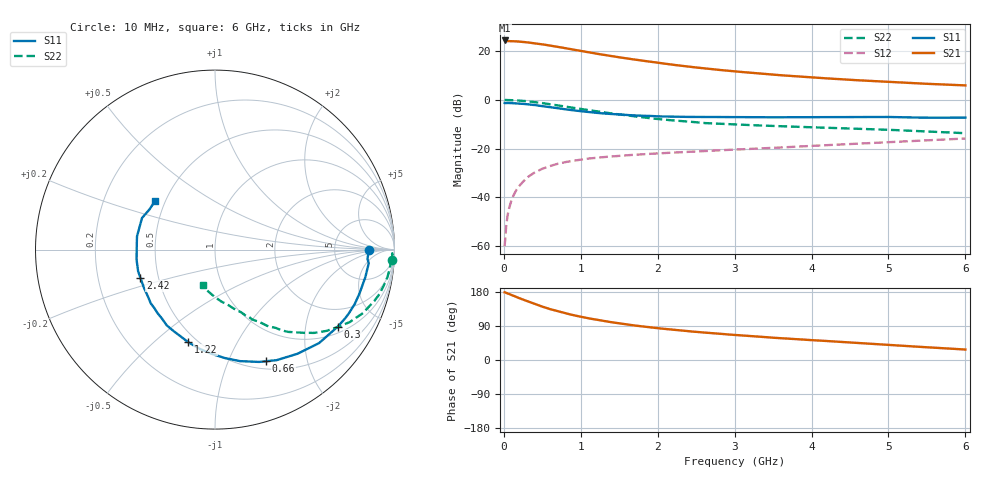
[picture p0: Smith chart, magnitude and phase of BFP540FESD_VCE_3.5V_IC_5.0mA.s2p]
! Infineon Technologies  Discrete & RF Semiconductors
! BFP540FESD
! VCE =  3.5 V,  IC =  5.0 mA
! Common Emitter S-Parameters:  Nov 2015
# GHz  S  MA  R  50
!  f  S11  S21  S12  S22
! GHz  MAG  ANG  MAG  ANG  MAG  ANG  MAG  ANG
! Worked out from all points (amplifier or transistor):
!   210 points, 10 MHz to 6 GHz, reference 50 ohm
!   highest |S21| = 24.3 dB at 10 MHz (marker M1)
!   |S21| within 3 dB of that: start of sweep to 770.1 MHz
!   unconditionally stable (mu >= 1): 2.771 GHz to end of sweep
!   at 185 MHz: K = 0.09, MSG = 29.9 dB, |S12| = -36.0 dB
!   at 1.52 GHz: K = 0.62, MSG = 20.1 dB, |S12| = -22.9 dB
!   at 6 GHz: K = 1.32, MAG = 7.5 dB, |S12| = -15.9 dB
!   S11 on the Smith chart (normalised r, x): 10 MHz: 13, -0; 300 MHz: 1.23, -3.02; 660 MHz: 0.59, -1.38; 1.22 GHz: 0.45, -0.65; 2.42 GHz: 0.40, -0.16; 6 GHz: 0.44, +0.29
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0.01  0.8569 -0.2  16.36 178.6  0.001 55.3  0.9879 -3.4
0.02  0.8512 -3.5  15.94 178.1  0.0015 80.5  0.988 -1.2
0.05  0.86 -5.1  15.91 175.8  0.0044 78.4  0.984 -3.1
0.095  0.8521 -9.9  15.82 172.0  0.0083 81.3  0.9799 -5.9
0.15  0.842 -16.7  15.77 167.7  0.0131 80.0  0.9725 -9.2
0.2  0.8353 -21.4  15.49 163.2  0.0171 79.3  0.9607 -12.2
0.3  0.8075 -32.1  15.02 155.4  0.0252 73.8  0.9325 -17.9
0.4  0.7795 -41.9  14.36 147.9  0.0322 68.6  0.8971 -23.2
0.5  0.7403 -51.6  13.68 140.8  0.0385 65.2  0.8532 -28.2
0.66  0.6839 -65.4  12.39 131.1  0.0467 58.7  0.7836 -34.6
0.8  0.6367 -77.4  11.38 123.3  0.0527 54.7  0.7231 -39.9
0.9  0.6075 -84.6  10.65 118.4  0.0561 51.9  0.683 -42.8
1.02  0.5773 -92.9  9.872 113.4  0.0599 50.0  0.6401 -46.1
1.22  0.5357 -106.4  8.696 105.7  0.0649 46.3  0.5743 -50.9
1.5  0.5003 -122.5  7.395 96.5  0.071 43.4  0.4992 -56.7
1.78  0.4706 -135.4  6.361 89.0  0.0757 41.5  0.4411 -61.9
2.02  0.4552 -145.6  5.662 83.4  0.0798 40.6  0.3997 -65.5
2.42  0.4442 -159.2  4.722 75.6  0.0858 39.6  0.3546 -71.0
3.1  0.4383 -175.4  3.69 64.7  0.0964 38.7  0.3059 -79.2
4.1  0.4398 168.8  2.797 51.3  0.1153 37.8  0.2692 -88.7
5.1  0.4395 155.0  2.281 38.6  0.1378 34.8  0.2384 -98.3
6  0.43 141.2  1.964 27.6  0.1606 30.8  0.2062 -109.3
